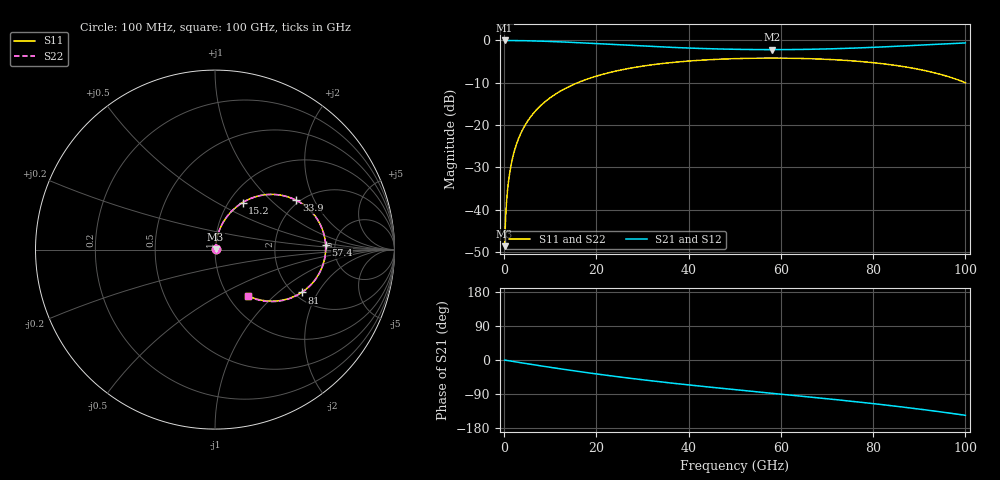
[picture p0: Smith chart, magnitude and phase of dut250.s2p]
! Touchstone file exported from HFSS 2026.1.0
!  File:  C:/ffzhzh/LocalFiles/Ansys_Project_Files/temp_train_RDL_250_1783501482_44152.aedt
!  Generated:  05:06:21 PM Jul  8, 2026
!  Design:  RDL
!  Project:  temp_train_RDL_250_1783501482_44152
! Variables:
!  h_bsmrdl = 2um
!  h_ox = 20um
!  h_rdl = 5um
!  h_sub = 80um
!  h_tmrdl = 3.48um
!  h_tsv = 80um
!  h_via = 3um
!  l_bsmrdl = 300um
!  l_sub = 897.29um
!  l_tmrdl = 497.29um
!  m_sub = 200um
!  pitch = 50.49um
!  r_tsv = 6um
!  s_tmrdl = 10um
!  w_bsmrdl = 18um
!  w_sub = 500um
!  w_tmrdl = 18.88um
!  x_tsv_center1 = 506.73um
!  x_tsv_center2 = 824.73um
!  x_tsv_center3 = 1340.9um
!  x_tsv_center4 = 1658.9um
!  x_tsv_center5 = 2175.07um
!  x_tsv_center6 = 2493.07um
# GHz S MA R 50.000000
! Terminal data exported
! Port[1] = TM_RDL1_1_T1
! Port[2] = TM_RDL1_1_T2
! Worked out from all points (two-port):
!   1000 points, 100 MHz to 100 GHz, reference 50 ohm
!   highest |S21| = -0.02 dB at 100 MHz (marker M1); lowest = -2.2 dB at 58 GHz (marker M2)
!   |S21| within 3 dB of the highest: start of sweep to end of sweep
!   lowest |S11| = -48.6 dB at 100 MHz (marker M3), VSWR 1.01, Z = 50.3 + j0.239 ohm
!   |S11| at or under -10 dB: start of sweep to 15.96 GHz
!   |S22| runs from -48.6 to -4.2 dB; largest |S21 - S12| = 1.7e-14
!   S11 on the Smith chart (normalised r, x): 100 MHz: 1.01, +0.00; 15.2 GHz: 1.16, +0.67; 33.9 GHz: 1.92, +1.47; 57.4 GHz: 4.19, +0.36; 81 GHz: 2.19, -1.47; 100 GHz: 1.23, -0.70
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0.1  0.00371 39.9  0.9972 -0.2  0.9972 -0.2  0.00371 39.9
! Gamma 0 0 0 0
! Port Impedance 50 0 50 0
0.8  0.01842 77.7  0.9964 -1.6  0.9964 -1.6  0.01842 77.7
1.1  0.02494 79.7  0.9962 -2.2  0.9962 -2.2  0.02494 79.7
1.4  0.0315 80.6  0.9959 -2.8  0.9959 -2.8  0.0315 80.6
2.4  0.05339 81.0  0.9947 -4.8  0.9947 -4.8  0.05339 81.0
3.7  0.08163 79.6  0.9922 -7.3  0.9922 -7.3  0.08163 79.6
5.7  0.1241 76.3  0.9869 -11.2  0.9869 -11.2  0.1241 76.3
8.2  0.1752 71.9  0.9779 -16.0  0.9779 -16.0  0.1752 71.9
11.4  0.2367 66.2  0.9636 -21.9  0.9636 -21.9  0.2367 66.2
15.2  0.3037 59.6  0.9436 -28.7  0.9436 -28.7  0.3037 59.6
16.8  0.3298 57.0  0.9346 -31.4  0.9346 -31.4  0.3298 56.9
24.7  0.4396 44.4  0.8878 -44.3  0.8878 -44.3  0.4396 44.4
33.4  0.5257 32.0  0.8401 -57.0  0.8401 -57.0  0.5257 31.9
33.9  0.5296 31.3  0.8376 -57.7  0.8376 -57.7  0.5296 31.2
50.1  0.6081 11.0  0.7837 -78.3  0.7837 -78.3  0.6081 10.9
57.4  0.6169 2.5  0.777 -87.0  0.777 -87.0  0.6169 2.3
58  0.617 1.8  0.7769 -87.7  0.7769 -87.7  0.6169 1.6
66.7  0.6065 -8.4  0.7849 -98.1  0.7849 -98.1  0.6064 -8.6
81  0.5378 -26.3  0.8314 -116.5  0.8314 -116.5  0.5378 -26.6
83.4  0.5189 -29.6  0.8428 -119.8  0.8428 -119.8  0.5188 -29.9
92  0.4301 -41.9  0.889 -132.6  0.889 -132.6  0.43 -42.4
100  0.3162 -54.4  0.9327 -146.0  0.9327 -146.0  0.3161 -55.0
